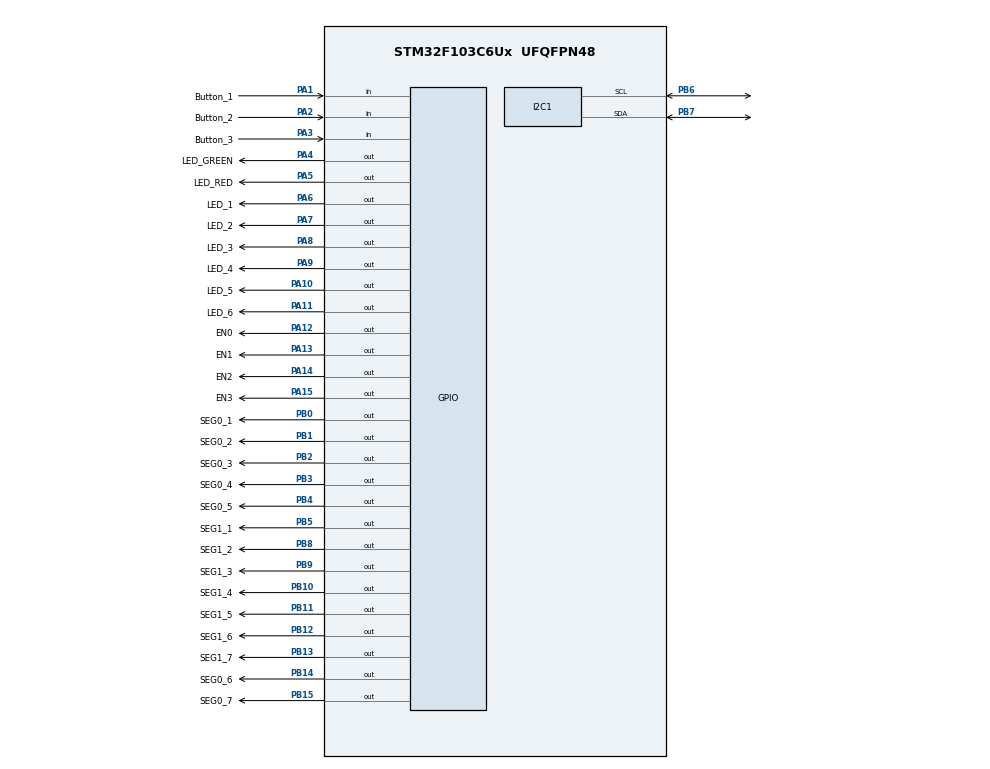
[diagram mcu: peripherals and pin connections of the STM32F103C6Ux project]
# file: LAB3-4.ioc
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Mcu.Family=STM32F1
Mcu.Name=STM32F103C6Ux
Mcu.Package=UFQFPN48
NVIC.PriorityGroup=NVIC_PRIORITYGROUP_4
NVIC.TIM2_IRQn=true\:0\:0\:false\:false\:true\:true\:true\:true
PA1.GPIO_Label=Button_1
PA1.Signal=GPIO_Input
PA10.GPIO_Label=LED_5
PA10.Signal=GPIO_Output
PA11.GPIO_Label=LED_6
PA11.Signal=GPIO_Output
PA12.GPIO_Label=EN0
PA12.Signal=GPIO_Output
PA13.GPIO_Label=EN1
PA13.Signal=GPIO_Output
PA14.GPIO_Label=EN2
PA14.Signal=GPIO_Output
PA15.GPIO_Label=EN3
PA15.Signal=GPIO_Output
PA2.GPIO_Label=Button_2
PA2.Signal=GPIO_Input
PA3.GPIO_Label=Button_3
PA3.Signal=GPIO_Input
PA4.GPIO_Label=LED_GREEN
PA4.Signal=GPIO_Output
PA5.GPIO_Label=LED_RED
PA5.Signal=GPIO_Output
PA6.GPIO_Label=LED_1
PA6.Signal=GPIO_Output
PA7.GPIO_Label=LED_2
PA7.Signal=GPIO_Output
PA8.GPIO_Label=LED_3
PA8.Signal=GPIO_Output
PA9.GPIO_Label=LED_4
PA9.Signal=GPIO_Output
PB0.GPIO_Label=SEG0_1
PB0.Signal=GPIO_Output
PB1.GPIO_Label=SEG0_2
PB1.Signal=GPIO_Output
PB10.GPIO_Label=SEG1_4
PB10.Signal=GPIO_Output
PB11.GPIO_Label=SEG1_5
PB11.Signal=GPIO_Output
PB12.GPIO_Label=SEG1_6
PB12.Signal=GPIO_Output
PB13.GPIO_Label=SEG1_7
PB13.Signal=GPIO_Output
PB14.GPIO_Label=SEG0_6
PB14.Signal=GPIO_Output
PB15.GPIO_Label=SEG0_7
PB15.Signal=GPIO_Output
PB2.GPIO_Label=SEG0_3
PB2.Signal=GPIO_Output
PB3.GPIO_Label=SEG0_4
PB3.Signal=GPIO_Output
PB4.GPIO_Label=SEG0_5
PB4.Signal=GPIO_Output
PB5.GPIO_Label=SEG1_1
PB5.Signal=GPIO_Output
PB6.Mode=I2C
PB6.Signal=I2C1_SCL
PB7.Mode=I2C
PB7.Signal=I2C1_SDA
PB8.GPIO_Label=SEG1_2
PB8.Signal=GPIO_Output
PB9.GPIO_Label=SEG1_3
PB9.Signal=GPIO_Output
ProjectManager.HeapSize=0x200
ProjectManager.StackSize=0x400
ProjectManager.TargetToolchain=STM32CubeIDE
RCC.APB1Freq_Value=8000000
RCC.APB2Freq_Value=8000000
TIM2.Period=9
TIM2.Prescaler=7999
VP_SYS_VS_ND.Mode=No_Debug
VP_TIM2_VS_ClockSourceINT.Mode=Internal
board=custom

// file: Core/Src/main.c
/* USER CODE BEGIN Header */
/**
 ******************************************************************************
 * @file           : main.c
 * @brief          : Main program body
 ******************************************************************************
 * @attention
 *
 * Copyright (c) 2024 STMicroelectronics.
 * All rights reserved.
 *
 * This software is licensed under terms that can be found in the LICENSE file
 * in the root directory of this software component.
 * If no LICENSE file comes with this software, it is provided AS-IS.
 *
 ******************************************************************************
 */
/* USER CODE END Header */
#include "main.h"

/* USER CODE BEGIN Includes */
#include "timer.h"
#include "button.h"
#include"fsm_automatic.h"
#include"fsm_manual.h"
#include"fsm_setting.h"
#include"led7_segment.h"
#include"scheduler.h"
/* USER CODE END Includes */

I2C_HandleTypeDef hi2c1;

TIM_HandleTypeDef htim2;

void SystemClock_Config(void);
static void MX_GPIO_Init(void);
static void MX_TIM2_Init(void);
static void MX_I2C1_Init(void);

/* USER CODE BEGIN 0 */
//void led_1(){
//	HAL_GPIO_TogglePin(LED_RED_GPIO_Port, LED_RED_Pin);
//}
//void led_2(){
//	HAL_GPIO_TogglePin(LED_GREEN_GPIO_Port, LED_GREEN_Pin);
//}
//void led_3(){
//	HAL_GPIO_TogglePin(LED_YELLOW_GPIO_Port, LED_YELLOW_Pin);
//}

/* USER CODE END 0 */

int main(void)
{

  /* MCU Configuration--------------------------------------------------------*/

  /* Reset of all peripherals, Initializes the Flash interface and the Systick. */
  HAL_Init();

  /* Configure the system clock */
  SystemClock_Config();

  /* Initialize all configured peripherals */
  MX_GPIO_Init();
  MX_TIM2_Init();
  MX_I2C1_Init();
  /* USER CODE BEGIN 2 */
	HAL_TIM_Base_Start_IT(&htim2);
  /* USER CODE END 2 */

  /* Infinite loop */
  /* USER CODE BEGIN WHILE */

	SCH_Init();
	SCH_Add_Task(fsm_automatic_run, 0, 1);
	SCH_Add_Task(fsm_manual_run, 0, 1);
	SCH_Add_Task(fsm_setting, 0, 1);
	SCH_Add_Task(getKeyInput, 0, 1);
	while (1) {
		SCH_Dispatch_Tasks();
//		fsm_automatic_run();
//		fsm_manual_run();
//		fsm_setting();
    /* USER CODE END WHILE */

	}
}

void SystemClock_Config(void)
{
  RCC_OscInitTypeDef RCC_OscInitStruct = {0};
  RCC_ClkInitTypeDef RCC_ClkInitStruct = {0};

  /** Initializes the RCC Oscillators according to the specified parameters
  * in the RCC_OscInitTypeDef structure.
  */
  RCC_OscInitStruct.OscillatorType = RCC_OSCILLATORTYPE_HSI;
  RCC_OscInitStruct.HSIState = RCC_HSI_ON;
  RCC_OscInitStruct.HSICalibrationValue = RCC_HSICALIBRATION_DEFAULT;
  RCC_OscInitStruct.PLL.PLLState = RCC_PLL_NONE;
  if (HAL_RCC_OscConfig(&RCC_OscInitStruct) != HAL_OK)
  {
    Error_Handler();
  }

  /** Initializes the CPU, AHB and APB buses clocks
  */
  RCC_ClkInitStruct.ClockType = RCC_CLOCKTYPE_HCLK|RCC_CLOCKTYPE_SYSCLK
                              |RCC_CLOCKTYPE_PCLK1|RCC_CLOCKTYPE_PCLK2;
  RCC_ClkInitStruct.SYSCLKSource = RCC_SYSCLKSOURCE_HSI;
  RCC_ClkInitStruct.AHBCLKDivider = RCC_SYSCLK_DIV1;
  RCC_ClkInitStruct.APB1CLKDivider = RCC_HCLK_DIV1;
  RCC_ClkInitStruct.APB2CLKDivider = RCC_HCLK_DIV1;

  if (HAL_RCC_ClockConfig(&RCC_ClkInitStruct, FLASH_LATENCY_0) != HAL_OK)
  {
    Error_Handler();
  }
}

static void MX_I2C1_Init(void)
{

  hi2c1.Instance = I2C1;
  hi2c1.Init.ClockSpeed = 100000;
  hi2c1.Init.DutyCycle = I2C_DUTYCYCLE_2;
  hi2c1.Init.OwnAddress1 = 0;
  hi2c1.Init.AddressingMode = I2C_ADDRESSINGMODE_7BIT;
  hi2c1.Init.DualAddressMode = I2C_DUALADDRESS_DISABLE;
  hi2c1.Init.OwnAddress2 = 0;
  hi2c1.Init.GeneralCallMode = I2C_GENERALCALL_DISABLE;
  hi2c1.Init.NoStretchMode = I2C_NOSTRETCH_DISABLE;
  if (HAL_I2C_Init(&hi2c1) != HAL_OK)
  {
    Error_Handler();
  }

}

static void MX_TIM2_Init(void)
{

  TIM_ClockConfigTypeDef sClockSourceConfig = {0};
  TIM_MasterConfigTypeDef sMasterConfig = {0};

  htim2.Instance = TIM2;
  htim2.Init.Prescaler = 7999;
  htim2.Init.CounterMode = TIM_COUNTERMODE_UP;
  htim2.Init.Period = 9;
  htim2.Init.ClockDivision = TIM_CLOCKDIVISION_DIV1;
  htim2.Init.AutoReloadPreload = TIM_AUTORELOAD_PRELOAD_DISABLE;
  if (HAL_TIM_Base_Init(&htim2) != HAL_OK)
  {
    Error_Handler();
  }
  sClockSourceConfig.ClockSource = TIM_CLOCKSOURCE_INTERNAL;
  if (HAL_TIM_ConfigClockSource(&htim2, &sClockSourceConfig) != HAL_OK)
  {
    Error_Handler();
  }
  sMasterConfig.MasterOutputTrigger = TIM_TRGO_RESET;
  sMasterConfig.MasterSlaveMode = TIM_MASTERSLAVEMODE_DISABLE;
  if (HAL_TIMEx_MasterConfigSynchronization(&htim2, &sMasterConfig) != HAL_OK)
  {
    Error_Handler();
  }

}

static void MX_GPIO_Init(void)
{
  GPIO_InitTypeDef GPIO_InitStruct = {0};

  /* GPIO Ports Clock Enable */
  __HAL_RCC_GPIOA_CLK_ENABLE();
  __HAL_RCC_GPIOB_CLK_ENABLE();

  /*Configure GPIO pin Output Level */
  HAL_GPIO_WritePin(GPIOA, LED_GREEN_Pin|LED_RED_Pin|LED_1_Pin|LED_2_Pin
                          |LED_3_Pin|LED_4_Pin|LED_5_Pin|LED_6_Pin
                          |EN0_Pin|EN1_Pin|EN2_Pin|EN3_Pin, GPIO_PIN_RESET);

  /*Configure GPIO pin Output Level */
  HAL_GPIO_WritePin(GPIOB, SEG0_1_Pin|SEG0_2_Pin|SEG0_3_Pin|SEG1_4_Pin
                          |SEG1_5_Pin|SEG1_6_Pin|SEG1_7_Pin|SEG0_6_Pin
                          |SEG0_7_Pin|SEG0_4_Pin|SEG0_5_Pin|SEG1_1_Pin
                          |SEG1_2_Pin|SEG1_3_Pin, GPIO_PIN_RESET);

  /*Configure GPIO pins : Button_1_Pin Button_2_Pin Button_3_Pin */
  GPIO_InitStruct.Pin = Button_1_Pin|Button_2_Pin|Button_3_Pin;
  GPIO_InitStruct.Mode = GPIO_MODE_INPUT;
  GPIO_InitStruct.Pull = GPIO_NOPULL;
  HAL_GPIO_Init(GPIOA, &GPIO_InitStruct);

  /*Configure GPIO pins : LED_GREEN_Pin LED_RED_Pin LED_1_Pin LED_2_Pin
                           LED_3_Pin LED_4_Pin LED_5_Pin LED_6_Pin
                           EN0_Pin EN1_Pin EN2_Pin EN3_Pin */
  GPIO_InitStruct.Pin = LED_GREEN_Pin|LED_RED_Pin|LED_1_Pin|LED_2_Pin
                          |LED_3_Pin|LED_4_Pin|LED_5_Pin|LED_6_Pin
                          |EN0_Pin|EN1_Pin|EN2_Pin|EN3_Pin;
  GPIO_InitStruct.Mode = GPIO_MODE_OUTPUT_PP;
  GPIO_InitStruct.Pull = GPIO_NOPULL;
  GPIO_InitStruct.Speed = GPIO_SPEED_FREQ_LOW;
  HAL_GPIO_Init(GPIOA, &GPIO_InitStruct);

  /*Configure GPIO pins : SEG0_1_Pin SEG0_2_Pin SEG0_3_Pin SEG1_4_Pin
                           SEG1_5_Pin SEG1_6_Pin SEG1_7_Pin SEG0_6_Pin
                           SEG0_7_Pin SEG0_4_Pin SEG0_5_Pin SEG1_1_Pin
                           SEG1_2_Pin SEG1_3_Pin */
  GPIO_InitStruct.Pin = SEG0_1_Pin|SEG0_2_Pin|SEG0_3_Pin|SEG1_4_Pin
                          |SEG1_5_Pin|SEG1_6_Pin|SEG1_7_Pin|SEG0_6_Pin
                          |SEG0_7_Pin|SEG0_4_Pin|SEG0_5_Pin|SEG1_1_Pin
                          |SEG1_2_Pin|SEG1_3_Pin;
  GPIO_InitStruct.Mode = GPIO_MODE_OUTPUT_PP;
  GPIO_InitStruct.Pull = GPIO_NOPULL;
  GPIO_InitStruct.Speed = GPIO_SPEED_FREQ_LOW;
  HAL_GPIO_Init(GPIOB, &GPIO_InitStruct);

}

/* USER CODE BEGIN 4 */
void HAL_TIM_PeriodElapsedCallback(TIM_HandleTypeDef *htim) {
	//getKeyInput();
	SCH_Update();
	timerRun();
}
/* USER CODE END 4 */

void Error_Handler(void)
{
	__disable_irq();
	while (1) {
	}
}
